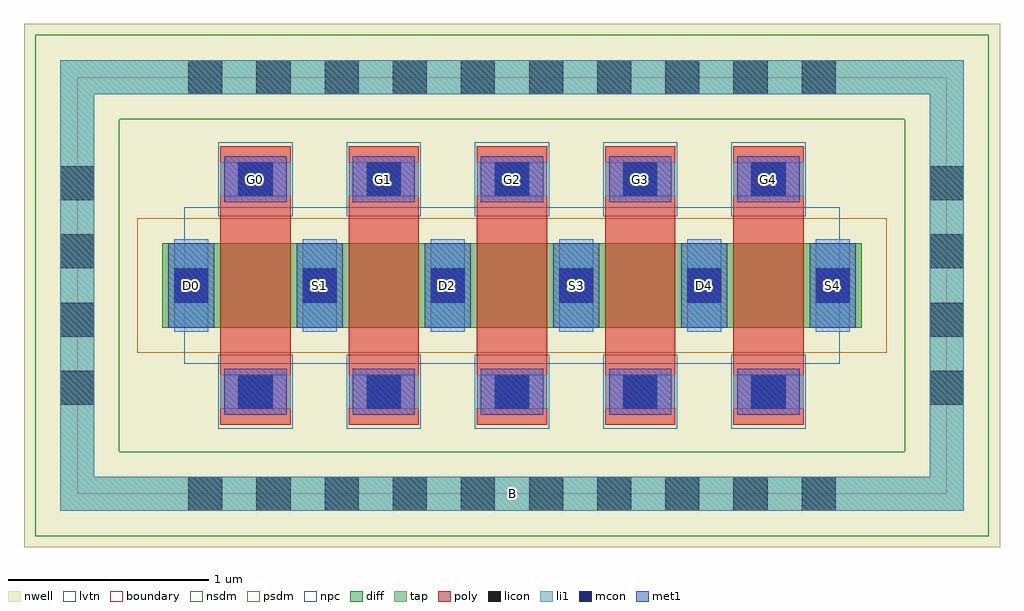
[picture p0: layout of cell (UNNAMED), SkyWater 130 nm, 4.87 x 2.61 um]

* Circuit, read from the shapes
.subckt (UNNAMED) B D0 D2 D4 G0 G1 G2 G3 G4 S1 S3 S4
XM1 S1 G0 D0 B sky130_fd_pr__pfet_01v8_lvt w=0.42 l=0.35
XM2 D2 G1 S1 B sky130_fd_pr__pfet_01v8_lvt w=0.42 l=0.35
XM3 S3 G2 D2 B sky130_fd_pr__pfet_01v8_lvt w=0.42 l=0.35
XM4 D4 G3 S3 B sky130_fd_pr__pfet_01v8_lvt w=0.42 l=0.35
XM5 S4 G4 D4 B sky130_fd_pr__pfet_01v8_lvt w=0.42 l=0.35
.ends

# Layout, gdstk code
import gdstk
lib = gdstk.Library(unit=1e-6, precision=1e-09)
def R(c, l, rs):  # rectangles x0, y0, x1, y1
    for r in rs: c.add(gdstk.rectangle(r[:2], r[2:], *l))
def A(c, l, x, y, w, h, nx, ny, dx, dy):  # array of equal rectangles
    R(c, l, [(x+i*dx, y+j*dy, x+i*dx+w, y+j*dy+h) for i in range(nx) for j in range(ny)])
nwell = (64, 20)
diff = (65, 20)
tap = (65, 44)
poly = (66, 20)
licon = (66, 44)
li1 = (67, 20)
mcon = (67, 44)
met1 = (68, 20)
nsdm = (93, 44)
psdm = (94, 20)
npc = (95, 20)
lvtn = (125, 44)
boundary = (235, 4)

c__unnamed_ = lib.new_cell('(UNNAMED)')
R(c__unnamed_, nwell, [(-2.435,-1.305,2.435,1.305)])
R(c__unnamed_, diff, [(-1.745,-0.21,1.745,0.21)])
R(c__unnamed_, tap, [(-2.255,-1.125,2.255,-0.955), (-2.255,-0.955,-2.085,0.955), (2.085,-0.955,2.255,0.955), (-2.255,0.955,2.255,1.125)])
A(c__unnamed_, poly, -1.455, -0.695, 0.35, 1.39, 5, 1, 0.64, 0)
A(c__unnamed_, licon, -1.615, -1.125, 0.17, 0.17, 10, 2, 0.34, 2.08)
A(c__unnamed_, licon, -1.365, -0.615, 0.17, 0.17, 5, 2, 0.64, 1.06)
A(c__unnamed_, licon, -2.255, -0.595, 0.17, 0.17, 1, 4, 0, 0.34)
A(c__unnamed_, licon, 2.085, -0.595, 0.17, 0.17, 1, 4, 0, 0.34)
A(c__unnamed_, licon, -1.685, -0.085, 0.17, 0.17, 6, 1, 0.64, 0)
A(c__unnamed_, li1, -1.455, -0.615, 0.35, 0.17, 5, 2, 0.64, 1.06)
A(c__unnamed_, li1, -1.685, -0.23, 0.17, 0.46, 6, 1, 0.64, 0)
R(c__unnamed_, li1, [(-2.255,-1.125,2.255,-0.955), (-2.255,-0.955,-2.085,0.955), (2.085,-0.955,2.255,0.955), (-2.255,0.955,2.255,1.125)])
A(c__unnamed_, mcon, -1.365, -0.615, 0.17, 0.17, 5, 2, 0.64, 1.06)
A(c__unnamed_, mcon, -1.685, -0.085, 0.17, 0.17, 6, 1, 0.64, 0)
A(c__unnamed_, met1, -1.435, -0.645, 0.31, 0.23, 5, 2, 0.64, 1.06)
A(c__unnamed_, met1, -1.715, -0.21, 0.23, 0.42, 6, 1, 0.64, 0)
R(c__unnamed_, nsdm, [(-2.38,-1.25,2.38,-0.83), (-2.38,-0.83,-1.96,0.83), (1.96,-0.83,2.38,0.83), (-2.38,0.83,2.38,1.25)])
R(c__unnamed_, psdm, [(-1.87,-0.335,1.87,0.335)])
A(c__unnamed_, npc, -1.465, -0.715, 0.37, 0.37, 5, 2, 0.64, 1.06)
R(c__unnamed_, lvtn, [(-1.635,-0.39,1.635,0.39)])
R(c__unnamed_, boundary, [(-2.17,-1.04,2.17,1.04)])
c__unnamed_.add(gdstk.Label('B', (0,-1.04), layer=67, texttype=5))
c__unnamed_.add(gdstk.Label('D0', (-1.6,0), layer=67, texttype=5))
c__unnamed_.add(gdstk.Label('G0', (-1.28,0.53), layer=67, texttype=5))
c__unnamed_.add(gdstk.Label('S1', (-0.96,0), layer=67, texttype=5))
c__unnamed_.add(gdstk.Label('G1', (-0.64,0.53), layer=67, texttype=5))
c__unnamed_.add(gdstk.Label('D2', (-0.32,0), layer=67, texttype=5))
c__unnamed_.add(gdstk.Label('G2', (0,0.53), layer=67, texttype=5))
c__unnamed_.add(gdstk.Label('S3', (0.32,0), layer=67, texttype=5))
c__unnamed_.add(gdstk.Label('G3', (0.64,0.53), layer=67, texttype=5))
c__unnamed_.add(gdstk.Label('D4', (0.96,0), layer=67, texttype=5))
c__unnamed_.add(gdstk.Label('S4', (1.6,0), layer=67, texttype=5))
c__unnamed_.add(gdstk.Label('G4', (1.28,0.53), layer=67, texttype=5))

lib.write_gds('_UNNAMED_.gds')
